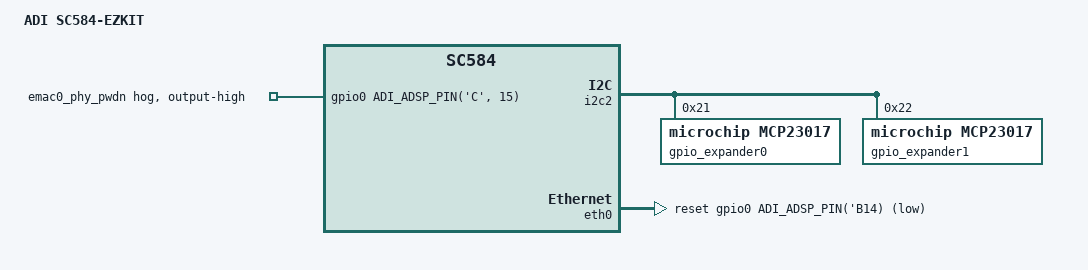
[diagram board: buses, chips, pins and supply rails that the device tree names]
// SPDX-License-Identifier: GPL-2.0-or-later
/*
 * (C) Copyright 2024 - Analog Devices, Inc.
 */

/dts-v1/;

#include "sc58x.dtsi"

/ {
	model = "ADI SC584-EZKIT";
	compatible = "adi,sc584-ezkit", "adi,sc58x";
};

&i2c2 {
	gpio_expander0: mcp23017@21 {
		compatible = "microchip,mcp23017";
		reg = <0x21>;
		gpio-controller;
		#gpio-cells = <2>;
		bootph-pre-ram;

		eeprom {
			gpio-hog;
			gpios = <0 GPIO_ACTIVE_LOW>;
			output-low;
			line-name = "eeprom-en";
			bootph-pre-ram;
		};

		uart0-flow-en {
			gpio-hog;
			gpios = <1 GPIO_ACTIVE_LOW>;
			output-low;
			line-name = "uart0-flow-en";
			bootph-pre-ram;
		};

		uart0-en {
			gpio-hog;
			gpios = <2 GPIO_ACTIVE_LOW>;
			output-high;
			line-name = "uart0-en";
			bootph-pre-ram;
		};

		mlb {
			gpio-hog;
			gpios = <5 GPIO_ACTIVE_LOW>;
			output-low;
			line-name = "mlb-en";
			bootph-pre-ram;
		};

		can0 {
			gpio-hog;
			gpios = <6 GPIO_ACTIVE_LOW>;
			output-low;
			line-name = "can0-en";
			bootph-pre-ram;
		};

		can1 {
			gpio-hog;
			gpios = <7 GPIO_ACTIVE_LOW>;
			output-low;
			line-name = "can1-en";
			bootph-pre-ram;
		};

		adau1962 {
			gpio-hog;
			gpios = <8 GPIO_ACTIVE_LOW>;
			output-high;
			line-name = "adau1962-en";
			bootph-pre-ram;
		};

		adau1979 {
			gpio-hog;
			gpios = <9 GPIO_ACTIVE_LOW>;
			output-high;
			line-name = "adau1979-en";
			bootph-pre-ram;
		};

		audio_jack_sel {
			gpio-hog;
			gpios = <10 GPIO_ACTIVE_HIGH>;
			output-low;
			line-name = "audio_jack_sel";
			bootph-pre-ram;
		};

		spi2d2-d3 {
			gpio-hog;
			gpios = <12 GPIO_ACTIVE_LOW>;
			output-high;
			line-name = "spi2d2-d3-en";
			bootph-pre-ram;
		};

		spi2flash-cs {
			gpio-hog;
			gpios = <13 GPIO_ACTIVE_LOW>;
			output-high;
			line-name = "spi2flash-cs";
			bootph-pre-ram;
		};

		spdif-opt {
			gpio-hog;
			gpios = <14 GPIO_ACTIVE_LOW>;
			output-low;
			line-name = "spdif-optical-en";
			bootph-pre-ram;
		};

		spdif-dig {
			gpio-hog;
			gpios = <15 GPIO_ACTIVE_LOW>;
			output-low;
			line-name = "spdif-digital-en";
			bootph-pre-ram;
		};
	};

	gpio_expander1: mcp23017@22 {
		compatible = "microchip,mcp23017";
		reg = <0x22>;
		gpio-controller;
		#gpio-cells = <2>;
		bootph-pre-ram;

		pushbutton3 {
			gpio-hog;
			gpios = <0 GPIO_ACTIVE_LOW>;
			output-high;
			line-name = "pushbutton3-en";
			bootph-pre-ram;
		};

		pushbutton2 {
			gpio-hog;
			gpios = <1 GPIO_ACTIVE_LOW>;
			output-high;
			line-name = "pushbutton2-en";
			bootph-pre-ram;
		};

		pushbutton1 {
			gpio-hog;
			gpios = <2 GPIO_ACTIVE_LOW>;
			output-high;
			line-name = "pushbutton1-en";
			bootph-pre-ram;
		};

		leds {
			gpio-hog;
			gpios = <3 GPIO_ACTIVE_LOW>;
			output-high;
			line-name = "leds-en";
			bootph-pre-ram;
		};

		flg0 {
			gpio-hog;
			gpios = <4 GPIO_ACTIVE_LOW>;
			output-high;
			line-name = "flg0_loop";
			bootph-pre-ram;
		};

		flg1 {
			gpio-hog;
			gpios = <5 GPIO_ACTIVE_LOW>;
			output-high;
			line-name = "flg1_loop";
			bootph-pre-ram;
		};

		flg2 {
			gpio-hog;
			gpios = <6 GPIO_ACTIVE_LOW>;
			output-high;
			line-name = "flg2_loop";
			bootph-pre-ram;
		};

		flg3 {
			gpio-hog;
			gpios = <7 GPIO_ACTIVE_LOW>;
			output-high;
			line-name = "flg3_loop";
			bootph-pre-ram;
		};

		adau1977 {
			gpio-hog;
			gpios = <8 GPIO_ACTIVE_LOW>;
			output-high;
			line-name = "adau1977_en";
			bootph-pre-ram;
		};

		adau1977_fault_rst {
			gpio-hog;
			gpios = <9 GPIO_ACTIVE_LOW>;
			output-low;
			line-name = "adau1977_fault_rst_en";
			bootph-pre-ram;
		};

		thumbwheel {
			gpio-hog;
			gpios = <10 GPIO_ACTIVE_LOW>;
			output-high;
			line-name = "thumbwheel_oe";
			bootph-pre-ram;
		};

		engine_rpm {
			gpio-hog;
			gpios = <11 GPIO_ACTIVE_LOW>;
			output-high;
			line-name = "engine_rpm_oe";
			bootph-pre-ram;
		};
	};
};

&eth0 {
	snps,reset-gpio = <&gpio0 ADI_ADSP_PIN('B', 14) GPIO_ACTIVE_LOW>;
};

&gpio0 {
	emac0_phy_pwdn {
		gpio-hog;
		output-high;
		gpios = <ADI_ADSP_PIN('C', 15) GPIO_ACTIVE_HIGH>;
	};
};
